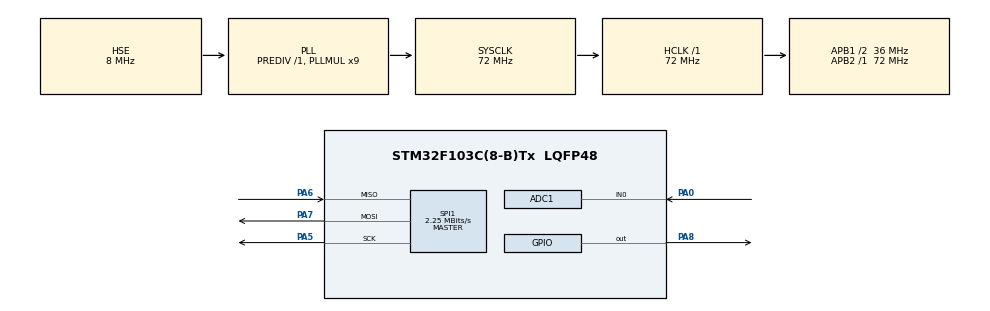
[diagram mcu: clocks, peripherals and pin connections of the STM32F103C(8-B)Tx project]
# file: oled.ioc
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ADC1.Channel-0\#ChannelRegularConversion=ADC_CHANNEL_0
ADC1.NbrOfConversionFlag=1
ADC1.Rank-0\#ChannelRegularConversion=1
ADC1.SamplingTime-0\#ChannelRegularConversion=ADC_SAMPLETIME_1CYCLE_5
ADC1.master=1
Dma.Request0=SPI1_TX
Dma.SPI1_TX.0.Direction=DMA_MEMORY_TO_PERIPH
Dma.SPI1_TX.0.Instance=DMA1_Channel3
Dma.SPI1_TX.0.MemDataAlignment=DMA_MDATAALIGN_BYTE
Dma.SPI1_TX.0.MemInc=DMA_MINC_DISABLE
Dma.SPI1_TX.0.Mode=DMA_CIRCULAR
Dma.SPI1_TX.0.PeriphDataAlignment=DMA_PDATAALIGN_BYTE
Dma.SPI1_TX.0.PeriphInc=DMA_PINC_DISABLE
Dma.SPI1_TX.0.Priority=DMA_PRIORITY_LOW
FREERTOS.Tasks01=defaultTask,24,128,StartDefaultTask,Default,NULL,Dynamic,NULL,NULL
FREERTOS.configTICK_RATE_HZ=20
Mcu.Family=STM32F1
Mcu.Name=STM32F103C(8-B)Tx
Mcu.Package=LQFP48
NVIC.ADC1_2_IRQn=true\:5\:0\:false\:false\:true\:true\:true\:true\:true
NVIC.DMA1_Channel3_IRQn=true\:5\:0\:false\:false\:true\:true\:false\:true\:true
NVIC.PriorityGroup=NVIC_PRIORITYGROUP_4
NVIC.TIM4_IRQn=true\:15\:0\:false\:false\:true\:false\:false\:true\:true
NVIC.TimeBase=TIM4_IRQn
NVIC.TimeBaseIP=TIM4
PA0-WKUP.Signal=ADCx_IN0
PA13.Mode=Serial_Wire
PA13.Signal=SYS_JTMS-SWDIO
PA14.Mode=Serial_Wire
PA14.Signal=SYS_JTCK-SWCLK
PA5.Mode=Full_Duplex_Master
PA5.Signal=SPI1_SCK
PA6.Mode=Full_Duplex_Master
PA6.Signal=SPI1_MISO
PA7.Mode=Full_Duplex_Master
PA7.Signal=SPI1_MOSI
PA8.GPIO_Speed=GPIO_SPEED_FREQ_HIGH
PA8.Signal=GPIO_Output
PC14-OSC32_IN.Mode=LSE-External-Oscillator
PC14-OSC32_IN.Signal=RCC_OSC32_IN
PC15-OSC32_OUT.Mode=LSE-External-Oscillator
PC15-OSC32_OUT.Signal=RCC_OSC32_OUT
PD0-OSC_IN.Mode=HSE-External-Oscillator
PD0-OSC_IN.Signal=RCC_OSC_IN
PD1-OSC_OUT.Mode=HSE-External-Oscillator
PD1-OSC_OUT.Signal=RCC_OSC_OUT
ProjectManager.HeapSize=0x200
ProjectManager.StackSize=0x400
ProjectManager.TargetToolchain=MDK-ARM V5.32
RCC.ADCPresc=RCC_ADCPCLK2_DIV6
RCC.AHBFreq_Value=72000000
RCC.APB1CLKDivider=RCC_HCLK_DIV2
RCC.APB1Freq_Value=36000000
RCC.APB1TimFreq_Value=72000000
RCC.APB2Freq_Value=72000000
RCC.APB2TimFreq_Value=72000000
RCC.HCLKFreq_Value=72000000
RCC.PLLMUL=RCC_PLL_MUL9
RCC.PLLSourceVirtual=RCC_PLLSOURCE_HSE
RCC.RTCClockSelection=RCC_RTCCLKSOURCE_LSE
RCC.SYSCLKFreq_VALUE=72000000
RCC.SYSCLKSource=RCC_SYSCLKSOURCE_PLLCLK
RCC.USBFreq_Value=72000000
RTC.Format=RTC_FORMAT_BIN
SH.ADCx_IN0.0=ADC1_IN0,IN0
SPI1.BaudRatePrescaler=SPI_BAUDRATEPRESCALER_32
SPI1.CRCCalculation=SPI_CRCCALCULATION_DISABLE
SPI1.CalculateBaudRate=2.25 MBits/s
SPI1.Direction=SPI_DIRECTION_2LINES
SPI1.Mode=SPI_MODE_MASTER
SPI1.VirtualType=VM_MASTER
VP_FREERTOS_VS_CMSIS_V2.Mode=CMSIS_V2
VP_RTC_VS_RTC_Activate.Mode=RTC_Enabled
VP_RTC_VS_RTC_Calendar.Mode=RTC_Calendar
VP_SYS_VS_tim4.Mode=TIM4
board=custom

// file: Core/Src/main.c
/* USER CODE BEGIN Header */
/**
  ******************************************************************************
  * @file           : main.c
  * @brief          : Main program body
  ******************************************************************************
  * @attention
  *
  * Copyright (c) 2024 STMicroelectronics.
  * All rights reserved.
  *
  * This software is licensed under terms that can be found in the LICENSE file
  * in the root directory of this software component.
  * If no LICENSE file comes with this software, it is provided AS-IS.
  *
  ******************************************************************************
  */
/* USER CODE END Header */
#include "main.h"
#include "cmsis_os.h"
#include "adc.h"
#include "dma.h"
#include "rtc.h"
#include "spi.h"
#include "gpio.h"

/* USER CODE BEGIN Includes */
#include "delay.h"
#include "at24c02.h"
#include "key.h"
#include "oled.h"
#include "rc522.h"
#include "rtc.h"
#include "math.h"
/* USER CODE END Includes */

void SystemClock_Config(void);
void MX_FREERTOS_Init(void);

int main(void)
{

  /* MCU Configuration--------------------------------------------------------*/

  /* Reset of all peripherals, Initializes the Flash interface and the Systick. */
  HAL_Init();

  /* Configure the system clock */
  SystemClock_Config();

  /* Initialize all configured peripherals */
  MX_GPIO_Init();
  MX_DMA_Init();
  MX_ADC1_Init();
  MX_SPI1_Init();
  MX_RTC_Init();
  /* USER CODE BEGIN 2 */
	HAL_Delay_Init();
	iic_init();
	key_init();
	OLED_Init();
	rc522_GPIO_Init();
	MFRC_Init();//初始化
	PCD_Reset();//器件复位

	settime (1,2,3,8,9,10);

  /* USER CODE END 2 */

  /* Init scheduler */
  osKernelInitialize();

  /* Call init function for freertos objects (in cmsis_os2.c) */
  MX_FREERTOS_Init();

  /* Start scheduler */
  osKernelStart();

  /* We should never get here as control is now taken by the scheduler */

  /* Infinite loop */
  while (1)
  {

    /* USER CODE BEGIN 3 */

//   key=key_scan (0);

//   if(HAL_GPIO_ReadPin(KEY4_GPIO_PORT,KEY4_GPIO_PIN)==0){mode=0;}
//   if(mode==0)
//   {
// 	index=0;

//     OLED_Clear();
//     HAL_RTC_GetTime(&hrtc, &sTime, RTC_FORMAT_BIN);
//     HAL_RTC_GetDate(&hrtc, &Date, RTC_FORMAT_BIN);

// 	oled_showjiemian();
// 	// HAL_ADC_Start(&hadc1);

//    	adcx = adc_get_result();
// 	HAL_ADC_Start_IT(&hadc1);
// 	OLED_ShowNum(94,0,adcx*100/4096,2,OLED_8X16);
// 	OLED_ShowString(112,0,"%",OLED_8X16);
// 	OLED_ShowString(18,42,"ID",OLED_6X8);
// 	OLED_ShowNum(32,42,0,8,OLED_6X8);
// 	card=PCD_Request(PICC_REQALL, RxBuffer);
// 	PCD_Anticoll(RxBuffer);
// 	if(card==PCD_OK)
// 	{

// 		OLED_ClearArea(31,42,127,50);
// 		for(int i=0;i<4;i++)
// 		{
// 			OLED_ShowHexNum(32+i*12,42,RxBuffer[i],2,OLED_6X8);
// 		}
// 		OLED_Update();
// 		if(check(RxBuffer)){HAL_GPIO_WritePin(GPIOA,GPIO_PIN_8,GPIO_PIN_SET);}
// 		delay_ms(900);
// 		HAL_GPIO_WritePin(GPIOA,GPIO_PIN_8,GPIO_PIN_RESET);
// 		for(uint8_t i=0;i<4;i++)
// 		{
// 			at24c02_write_one_byte(i+j,RxBuffer[i]);
// 		}
// 		addr=j;
// 		j=j+4;
// 		if(j>255){j=j%256;}
// 	}
// 	OLED_Update();
// 	if(HAL_GPIO_ReadPin(KEY1_GPIO_PORT,KEY1_GPIO_PIN)==0)
// 	{
// 		mode=3;
// 		OLED_Clear();
// 		OLED_ShowString(30,20,"clear",OLED_8X16);
// 		OLED_Update();
// 	}
//     if(HAL_GPIO_ReadPin(KEY2_GPIO_PORT,KEY2_GPIO_PIN)==0)
// 	{
// 		mode=1;
// 		OLED_Clear();
// 		OLED_ShowString(30,20,"set time?",OLED_8X16);
// 		OLED_Update();
// 		delay_ms(300);
// 	}
// 	if(HAL_GPIO_ReadPin(KEY3_GPIO_PORT,KEY3_GPIO_PIN)==0)
// 	{
// 		mode=2;
// 		OLED_Clear();
// 		OLED_ShowString(0,20,"look history?",OLED_8X16);
// 		OLED_Update();
// 		delay_ms(300);
// 	}
// 	// if(ty==0){adc_time--;}
// 	// if(adc_time==0){HAL_ADC_Start_IT(&hadc1);adc_time=6000;}
//   }
//   if(mode==1)
//   {
// 	if(key==KEY1_PRES)
// 	{
// 	t=5000;
// 	OLED_ShowString(30,0,"set time",OLED_8X16);
// 	OLED_ClearArea(30,20,127,36);
// 	  OLED_Update();
// 	  index++;
// 	  index=index%7;
// 	  if(index==1){OLED_ClearArea(0,40,127,63);OLED_ShowString(20,42,"year",OLED_6X8);OLED_Update();}
// 	  if(index==2){OLED_ClearArea(0,40,127,63);OLED_ShowString(20,42,"month",OLED_6X8);OLED_Update();}
// 	  if(index==3){OLED_ClearArea(0,40,127,63);OLED_ShowString(20,42,"day",OLED_6X8);OLED_Update();}
// 	  if(index==4){OLED_ClearArea(0,40,127,63);OLED_ShowString(20,42,"hour",OLED_6X8);OLED_Update();}
// 	  if(index==5){OLED_ClearArea(0,40,127,63);OLED_ShowString(20,42,"minute",OLED_6X8);OLED_Update();}
// 	  if(index==6){OLED_ClearArea(0,40,127,63);OLED_ShowString(20,42,"second",OLED_6X8);OLED_Update();}

// 	  if(index==0)
// 	  {
// 	  settime(y1,y2,day,hour,minute,second);
// 	  mode=0;
// 	  delay_ms(200);
// 	  }

// 	  }
// 	if(key==KEY2_PRES)
// 	  {
// 	  t=5000;
// 		if(index==1)
// 		{
// 		  y1++;
// 		  if(y1>99){y1=y1%100;}
// 		  OLED_ClearArea(0,40,127,63);
// 		  OLED_ShowString(20,42,"year",OLED_6X8);
// 		  OLED_ShowNum(48,42,2000 + y1,4,OLED_6X8);
// 		  OLED_Update();
// 		}
// 		if(index==2)
// 		{
// 		  y2++;
// 		  if(y2>12){y2=y2%13;y2++;}
// 		  OLED_ClearArea(0,40,127,63);
// 		  OLED_ShowString(20,42,"month-",OLED_6X8);
// 		  OLED_ShowNum(57,42,y2,2,OLED_6X8);
// 		  OLED_Update();

// 		}
// 		if(index==3)
// 		{
// 		//   day++;
// 		  if(rtc_is_leap_year(y1))
// 		  {
// 			if(y2==1|y2==3|y2==5|y2==7|y2==8|y2==10|y2==12){day=day%31;day++;}
// 			else if(y2==4|y2==6|y2==9|y2==11){day=day%30;day++;}
// 			else{day=day%29;day++;}
// 		  }
// 		  else
// 		  {
// 			if(y2==1|y2==3|y2==5|y2==7|y2==8|y2==10|y2==12){day=day%31;day++;}
// 			else if(y2==4|y2==6|y2==9|y2==11){day=day%30;day++;}
// 			else{day=day%28;day++;}
// 		  }
// 		  OLED_ClearArea(0,40,127,63);
// 		  OLED_ShowString(20,42,"day-",OLED_6X8);
// 		  OLED_ShowNum(45,42,day,2,OLED_6X8);
// 		  OLED_Update();

// 		}
// 		if(index==4)
// 		{
// 		  hour++;
// 		  if(hour>23){hour=hour%24;}
// 		  OLED_ClearArea(0,40,127,63);
// 		  OLED_ShowString(20,42,"hour-",OLED_6X8);
// 		  OLED_ShowNum(51,42,hour,2,OLED_6X8);
// 		  OLED_Update();

// 		}
// 		if(index==5)
// 		{
// 		  minute++;
// 		  if(minute>59){minute=minute%60;}
// 		  OLED_ClearArea(0,40,127,63);
// 		  OLED_ShowString(20,42,"minute-",OLED_6X8);
// 		  OLED_ShowNum(63,42,minute,2,OLED_6X8);
// 		  OLED_Update();

// 		}
// 		if(index==6)
// 		{
// 		  second++;
// 		  if(second>59){second=second%60;}
// 		  OLED_ClearArea(0,40,127,63);
// 		  OLED_ShowString(20,42,"second-",OLED_6X8);
// 		  OLED_ShowNum(63,42,second,2,OLED_6X8);
// 		  OLED_Update();

// 		}

// 	  }
// 	if(key==KEY3_PRES)
// 	  {
// 	  t=5000;
// 		if(index==1)
// 		{
// 		  if(y1>99){y1=y1%100;}
// 		  else if (y1==0){y1=99;}
// 		  else {y1--;}

// 		  OLED_ClearArea(0,40,127,63);
// 		  OLED_ShowString(20,42,"year",OLED_6X8);
// 		  OLED_ShowNum(48,42,2000 + y1,4,OLED_6X8);
// 		  OLED_Update();
// 		}
// 		if(index==2)
// 		{
// 		  if(y2>12){y2=y2%13;y2++;}
// 		  else if(y2==1){y2=12;}
// 		  else {y2--;}

// 		  OLED_ClearArea(0,40,127,63);
// 		  OLED_ShowString(20,42,"month-",OLED_6X8);
// 		  OLED_ShowNum(57,42,y2,2,OLED_6X8);
// 		  OLED_Update();

// 		}
// 		if(index==3)
// 		{
// 		  day--;
// 		  if(rtc_is_leap_year(y1))
// 		  {
// 			if(y2==1|y2==3|y2==5|y2==7|y2==8|y2==10|y2==12){if(day==0){day=31;}}
// 			else if(y2==4|y2==6|y2==9|y2==11){if(day==0){day=30;}}
// 			else{if(day==0){day=29;}}
// 		  }
// 		  else
// 		  {
// 			if(y2==1|y2==3|y2==5|y2==7|y2==8|y2==10|y2==12){if(day==0){day=31;}}
// 			else if(y2==4|y2==6|y2==9|y2==11){if(day==0){day=30;}}
// 			else{if(day==0){day=28;}}
// 		  }
// 		  OLED_ClearArea(0,40,127,63);
// 		  OLED_ShowString(20,42,"day-",OLED_6X8);
// 		  OLED_ShowNum(45,42,day,2,OLED_6X8);
// 		  OLED_Update();

// 		}
// 		if(index==4)
// 		{
// 		if(hour>23){hour=hour%24;}
// 		  else if(hour==0){hour=23;}
// 		  else{hour--;}
// 		  OLED_ClearArea(0,40,127,63);
// 		  OLED_ShowString(20,42,"hour-",OLED_6X8);
// 		  OLED_ShowNum(51,42,hour,2,OLED_6X8);
// 		  OLED_Update();

// 		}
// 		if(index==5)
// 		{
// 		  if(minute>59){minute=minute%60;}
// 		  else if(minute==0){minute=59;}
// 		  else{minute--;}
// 		  OLED_ClearArea(0,40,127,63);
// 		  OLED_ShowString(20,42,"minute-",OLED_6X8);
// 		  OLED_ShowNum(63,42,minute,2,OLED_6X8);
// 		  OLED_Update();

// 		}
// 		if(index==6)
// 		{
// 		if(second>59){second=second%60;}
// 		  else if(second==0){second=59;}
// 		  else{second--;}

// 		  OLED_ClearArea(0,40,127,63);
// 		  OLED_ShowString(20,42,"second-",OLED_6X8);
// 		  OLED_ShowNum(63,42,second,2,OLED_6X8);
// 		  OLED_Update();

// 		}

// 	  }
// 	  if(t!=0){	t--;delay_ms(1);}
// 	  else {mode=0;index=0;t=5000;}

//   }
//   if(mode==2)
//   {

// 	if(key==KEY1_PRES)
// 	{
// 		t=5000;
// 		OLED_Clear();
// 		OLED_ShowString(30,1,"card ID",OLED_8X16);
// 		for(int i=0;i<4;i++)
// 		{
// 		rdbuffer[i]=at24c02_read_one_byte(addr+i);
// 		}
// 		for(int i=0;i<4;i++)
// 		{
// 		OLED_ShowHexNum(32+i*18,25,rdbuffer[i],2,OLED_6X8);
// 		}
// 		OLED_Update();
// 	}
// 	if(key==KEY2_PRES)
// 	{
// 		t=5000;
// 		OLED_ClearArea(0,25,127,33);
// 		addr=addr+4;

// 		for(int i=0;i<4;i++)
// 		{
// 		rdbuffer[i]=at24c02_read_one_byte(addr+i);
// 		}
// 		for(int i=0;i<4;i++)
// 		{
// 		OLED_ShowHexNum(32+i*18,25,rdbuffer[i],2,OLED_6X8);
// 		}OLED_Update();

// 	}
// 	if(key==KEY3_PRES)
// 	{
// 		t=5000;
// 		OLED_ClearArea(0,25,127,33);
// 		addr=addr-4;

// 		for(int i=0;i<4;i++)
// 		{
// 		rdbuffer[i]=at24c02_read_one_byte(addr+i);
// 		}
// 		for(int i=0;i<4;i++)
// 		{
// 		OLED_ShowHexNum(32+i*18,25,rdbuffer[i],2,OLED_6X8);
// 		}OLED_Update();

// 	}
// 	if(t!=0){t--;delay_ms(1);}
// 	else{mode=0;t=5000;}
//   }
//   if(mode==3)
//   {

// 	if(HAL_GPIO_ReadPin(KEY2_GPIO_PORT,KEY2_GPIO_PIN)==0&
// 	HAL_GPIO_ReadPin(KEY3_GPIO_PORT,KEY3_GPIO_PIN)==0)
// 	{

// 		for(int i=0;i<256;i++)
// 		{at24c02_write_one_byte(i,0);delay_ms(5);}
// 		mode=0;
// 		OLED_Clear();
// 		OLED_ShowString(30,20,"done",OLED_8X16);
// 		OLED_Update();
// 		delay_ms(3000);
// 	}
//   }

  }

  /* USER CODE END 3 */
}

void SystemClock_Config(void)
{
  RCC_OscInitTypeDef RCC_OscInitStruct = {0};
  RCC_ClkInitTypeDef RCC_ClkInitStruct = {0};
  RCC_PeriphCLKInitTypeDef PeriphClkInit = {0};

  /** Initializes the RCC Oscillators according to the specified parameters
  * in the RCC_OscInitTypeDef structure.
  */
  RCC_OscInitStruct.OscillatorType = RCC_OSCILLATORTYPE_HSE|RCC_OSCILLATORTYPE_LSE;
  RCC_OscInitStruct.HSEState = RCC_HSE_ON;
  RCC_OscInitStruct.HSEPredivValue = RCC_HSE_PREDIV_DIV1;
  RCC_OscInitStruct.LSEState = RCC_LSE_ON;
  RCC_OscInitStruct.HSIState = RCC_HSI_ON;
  RCC_OscInitStruct.PLL.PLLState = RCC_PLL_ON;
  RCC_OscInitStruct.PLL.PLLSource = RCC_PLLSOURCE_HSE;
  RCC_OscInitStruct.PLL.PLLMUL = RCC_PLL_MUL9;
  if (HAL_RCC_OscConfig(&RCC_OscInitStruct) != HAL_OK)
  {
    Error_Handler();
  }

  /** Initializes the CPU, AHB and APB buses clocks
  */
  RCC_ClkInitStruct.ClockType = RCC_CLOCKTYPE_HCLK|RCC_CLOCKTYPE_SYSCLK
                              |RCC_CLOCKTYPE_PCLK1|RCC_CLOCKTYPE_PCLK2;
  RCC_ClkInitStruct.SYSCLKSource = RCC_SYSCLKSOURCE_PLLCLK;
  RCC_ClkInitStruct.AHBCLKDivider = RCC_SYSCLK_DIV1;
  RCC_ClkInitStruct.APB1CLKDivider = RCC_HCLK_DIV2;
  RCC_ClkInitStruct.APB2CLKDivider = RCC_HCLK_DIV1;

  if (HAL_RCC_ClockConfig(&RCC_ClkInitStruct, FLASH_LATENCY_2) != HAL_OK)
  {
    Error_Handler();
  }
  PeriphClkInit.PeriphClockSelection = RCC_PERIPHCLK_RTC|RCC_PERIPHCLK_ADC;
  PeriphClkInit.RTCClockSelection = RCC_RTCCLKSOURCE_LSE;
  PeriphClkInit.AdcClockSelection = RCC_ADCPCLK2_DIV6;
  if (HAL_RCCEx_PeriphCLKConfig(&PeriphClkInit) != HAL_OK)
  {
    Error_Handler();
  }
}

/* USER CODE BEGIN 4 */

uint8_t check(uint8_t* mima)
{
	int8_t temp=0;
	uint8_t code[4]={0x33,0x64,0x14,0x2A};
	for(int i=0;i<4;i++)
	{
	if(code[i]==*(mima+i))
	{
		temp++;
	}
	}
	if(temp==4)
	{return 1;}
	else
	{return 0;}
}
/* USER CODE END 4 */

void HAL_TIM_PeriodElapsedCallback(TIM_HandleTypeDef *htim)
{
  if (htim->Instance == TIM4) {
    HAL_IncTick();
  }
}

void Error_Handler(void)
{
  __disable_irq();
  while (1)
  {
  }
}

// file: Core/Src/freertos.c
/* USER CODE BEGIN Header */
/**
  ******************************************************************************
  * File Name          : freertos.c
  * Description        : Code for freertos applications
  ******************************************************************************
  * @attention
  *
  * Copyright (c) 2024 STMicroelectronics.
  * All rights reserved.
  *
  * This software is licensed under terms that can be found in the LICENSE file
  * in the root directory of this software component.
  * If no LICENSE file comes with this software, it is provided AS-IS.
  *
  ******************************************************************************
  */
/* USER CODE END Header */

#include "FreeRTOS.h"
#include "task.h"
#include "main.h"
#include "cmsis_os.h"

/* USER CODE BEGIN Includes */
#include "delay.h"
#include "at24c02.h"
#include "key.h"
#include "oled.h"
#include "rc522.h"
#include "rtc.h"
#include "math.h"

#include "adc.h"
#include "dma.h"

#include "rtc.h"
#include "spi.h"
#include "semphr.h"
#include "gpio.h"
#include "queue.h"
/* USER CODE END Includes */

/* USER CODE BEGIN Variables */
/* START_TASK ?? ??
 * ??: ???? ????? ???? ????
 */
#define START_TASK_PRIO         1
#define START_TASK_STACK_SIZE   128
TaskHandle_t    start_task_handler;
void start_task( void * pvParameters );

/* TASK1 ?? ??
 * ??: ???? ????? ???? ????
 */
#define TASK1_PRIO         2
#define TASK1_STACK_SIZE   128
TaskHandle_t    task1_handler;
void task1( void * pvParameters );

/* TASK2 ?? ??
 * ??: ???? ????? ???? ????
 */
#define TASK2_PRIO         6
#define TASK2_STACK_SIZE   64
TaskHandle_t    task2_handler;
void task2( void * pvParameters );

/* TASK3 ?? ??
 * ??: ???? ????? ???? ????
 */
#define TASK3_PRIO         4
#define TASK3_STACK_SIZE   128
TaskHandle_t    task3_handler;
void task3( void * pvParameters );

#define TASK4_PRIO         4
#define TASK4_STACK_SIZE   64
TaskHandle_t    task4_handler;
void task4( void * pvParameters );

#define TASK5_PRIO         7
#define TASK5_STACK_SIZE   32
TaskHandle_t    task5_handler;
void task5( void * pvParameters );

/* USER CODE END Variables */
/* Definitions for defaultTask */
osThreadId_t defaultTaskHandle;
const osThreadAttr_t defaultTask_attributes = {
  .name = "defaultTask",
  .stack_size = 128 * 4,
  .priority = osPriorityIdle,
};

/* USER CODE BEGIN FunctionPrototypes */
  QueueHandle_t semphore_handle;
/* USER CODE END FunctionPrototypes */

void StartDefaultTask(void *argument);

void MX_FREERTOS_Init(void); /* (MISRA C 2004 rule 8.1) */

void MX_FREERTOS_Init(void) {
  /* USER CODE BEGIN Init */

  semphore_handle = xSemaphoreCreateBinary();
    xTaskCreate((TaskFunction_t         )   start_task,
                (char *                 )   "start_task",
                (configSTACK_DEPTH_TYPE )   START_TASK_STACK_SIZE,
                (void *                 )   NULL,
                (UBaseType_t            )   START_TASK_PRIO,
                (TaskHandle_t *         )   &start_task_handler );
    vTaskStartScheduler();
  /* USER CODE END Init */

  /* Create the thread(s) */
  /* creation of defaultTask */
  defaultTaskHandle = osThreadNew(StartDefaultTask, NULL, &defaultTask_attributes);

}

void StartDefaultTask(void *argument)
{
  for(;;)
  {
    osDelay(1);
  }
}

/* USER CODE BEGIN Application */
	uint8_t rdbuffer[4];
	uint8_t RxBuffer[4];
  uint8_t write_buffer[10];

	uint8_t key;
	uint8_t addr=0;
	uint8_t j=0;
  uint16_t adcx;
  uint8_t card;

  int y1=0;
  int y2=0;
  int day=0;
  int hour=0;
  int minute=0;
  int second=0;
  uint8_t mode=0;
  uint16_t t=5000;

  uint8_t index=0;
  uint16_t adc_time=600;

void start_task( void * pvParameters )
{
    taskENTER_CRITICAL();               /* ????? */
    xTaskCreate((TaskFunction_t         )   task1,
                (char *                 )   "task1",
                (configSTACK_DEPTH_TYPE )   TASK1_STACK_SIZE,
                (void *                 )   NULL,
                (UBaseType_t            )   TASK1_PRIO,
                (TaskHandle_t *         )   &task1_handler );

    xTaskCreate((TaskFunction_t         )   task2,
                (char *                 )   "task2",
                (configSTACK_DEPTH_TYPE )   TASK2_STACK_SIZE,
                (void *                 )   NULL,
                (UBaseType_t            )   TASK2_PRIO,
                (TaskHandle_t *         )   &task2_handler );

    xTaskCreate((TaskFunction_t         )   task3,
                (char *                 )   "task3",
                (configSTACK_DEPTH_TYPE )   TASK3_STACK_SIZE,
                (void *                 )   NULL,
                (UBaseType_t            )   TASK3_PRIO,
                (TaskHandle_t *         )   &task3_handler );

    xTaskCreate((TaskFunction_t         )   task4,
                (char *                 )   "task4",
                (configSTACK_DEPTH_TYPE )   TASK4_STACK_SIZE,
                (void *                 )   NULL,
                (UBaseType_t            )   TASK4_PRIO,
                (TaskHandle_t *         )   &task4_handler );

    xTaskCreate((TaskFunction_t         )   task5,
                (char *                 )   "task5",
                (configSTACK_DEPTH_TYPE )   TASK5_STACK_SIZE,
                (void *                 )   NULL,
                (UBaseType_t            )   TASK5_PRIO,
                (TaskHandle_t *         )   &task5_handler );

    vTaskSuspend(task4_handler);
    vTaskSuspend(task2_handler);
    vTaskSuspend(task3_handler);

    vTaskDelete(NULL);
    taskEXIT_CRITICAL();                /* ????? */
}

/* ??????LED0?500ms???? */
void task1( void * pvParameters )
{
  // vTaskSuspend(StartDefaultTask);

		vTaskSuspend(task3_handler);
    while(1)
    {
    key=key_scan(0);
    if(mode==0)
      {
      index=0;
      OLED_Clear();
      HAL_RTC_GetTime(&hrtc, &sTime, RTC_FORMAT_BIN);
      HAL_RTC_GetDate(&hrtc, &Date, RTC_FORMAT_BIN);

      oled_showjiemian();
      // HAL_ADC_Start(&hadc1);

      adcx = adc_get_result();
      HAL_ADC_Start_IT(&hadc1);
      OLED_ShowNum(94,0,adcx*100/4096,2,OLED_8X16);
      OLED_ShowString(112,0,"%",OLED_8X16);
      OLED_ShowString(18,42,"ID",OLED_6X8);
      OLED_ShowNum(32,42,0,8,OLED_6X8);
       card=PCD_Request(PICC_REQALL, RxBuffer);
    PCD_Anticoll(RxBuffer);
    if(card==PCD_OK)
    {
       if(semphore_handle != NULL)
            {
                 xSemaphoreGive(semphore_handle);
            }

    }
	    OLED_Update();
      if(key==KEY1_PRES)
      {
      mode=3;
      OLED_Clear();
      OLED_ShowString(30,20,"clear",OLED_8X16);
      OLED_Update();
      delay_ms(500);
      vTaskResume(task4_handler);
      }
      if(key==KEY2_PRES)
      {
      mode=1;
      OLED_Clear();
      OLED_ShowString(30,20,"set time?",OLED_8X16);
      OLED_Update();
      vTaskResume(task3_handler);
      }
      if(key==KEY3_PRES)
      {
        mode=2;
        OLED_Clear();
        OLED_ShowString(0,20,"look history?",OLED_8X16);
        OLED_Update();
        vTaskResume(task2_handler);
      }
      }
	  vTaskDelay(1);
    }

}

/* ??????LED1?500ms???? */
void task2( void * pvParameters )
{
    while(1)
    {
      key=key_scan(0);
      if(mode==2)
      {

      if(key==KEY1_PRES)
      {
      t=5000;
      OLED_Clear();
      OLED_ShowString(30,1,"card ID",OLED_8X16);
      for(int i=0;i<4;i++)
      {
      OLED_ShowHexNum(32+i*18,25,at24c02_read_one_byte(addr+i),2,OLED_6X8);
      }
      OLED_ShowNum(3,40,2000+at24c02_read_one_byte(addr+4),4,OLED_6X8);
      for(int i=0;i<5;i++){
      OLED_ShowNum(29+i*14,40,at24c02_read_one_byte(addr+5+i),2,OLED_6X8);
      }
      OLED_Update();
      }
      if(key==KEY2_PRES)
      {
      t=5000;
      OLED_ClearArea(0,25,127,33);
      addr=addr+10;

      for(int i=0;i<4;i++)
      {
      OLED_ShowHexNum(32+i*18,25,at24c02_read_one_byte(addr+i),2,OLED_6X8);
      }
      OLED_ShowNum(3,40,2000+at24c02_read_one_byte(addr+4),4,OLED_6X8);
      for(int i=0;i<5;i++){
      OLED_ShowNum(29+i*14,40,at24c02_read_one_byte(addr+5+i),2,OLED_6X8);
      }OLED_Update();

      }
      if(key==KEY3_PRES)
      {
      t=5000;
      OLED_ClearArea(0,25,127,33);
      addr=addr-10;

      for(int i=0;i<4;i++)
      {
      OLED_ShowHexNum(32+i*18,25,at24c02_read_one_byte(addr+i),2,OLED_6X8);
      }
      OLED_ShowNum(3,40,2000+at24c02_read_one_byte(addr+4),4,OLED_6X8);
      for(int i=0;i<5;i++){
      OLED_ShowNum(29+i*14,40,at24c02_read_one_byte(addr+5+i),2,OLED_6X8);
      }OLED_Update();

      }
      if(t!=0){t--;delay_ms(1);}
      else
      {
        mode=0;
        t=5000;
        vTaskSuspend(task2_handler);
      }
      if(key==KEY4_PRES)
        {
        mode=0;
        vTaskSuspend(task2_handler);
        }
      }
    }
}

/* ????????KEY0???KEY0??task1 */
void task3( void * pvParameters )
{

  while(1)
  {

  key=key_scan(0);
  if(mode==1)
  {
	if(key==KEY1_PRES)
	{
	t=5000;
	OLED_ShowString(30,0,"set time",OLED_8X16);
	OLED_ClearArea(30,20,127,36);
	  OLED_Update();
	  index++;
	  index=index%7;
	  if(index==1){OLED_ClearArea(0,40,127,63);OLED_ShowString(20,42,"year",OLED_6X8);OLED_Update();}
	  if(index==2){OLED_ClearArea(0,40,127,63);OLED_ShowString(20,42,"month",OLED_6X8);OLED_Update();}
	  if(index==3){OLED_ClearArea(0,40,127,63);OLED_ShowString(20,42,"day",OLED_6X8);OLED_Update();}
	  if(index==4){OLED_ClearArea(0,40,127,63);OLED_ShowString(20,42,"hour",OLED_6X8);OLED_Update();}
	  if(index==5){OLED_ClearArea(0,40,127,63);OLED_ShowString(20,42,"minute",OLED_6X8);OLED_Update();}
	  if(index==6){OLED_ClearArea(0,40,127,63);OLED_ShowString(20,42,"second",OLED_6X8);OLED_Update();}

	  if(index==0)
	  {
	  settime(y1,y2,day,hour,minute,second);
	  mode=0;
    delay_ms(300);
    vTaskSuspend(task3_handler);

	  }

	  }
	if(key==KEY2_PRES)
	  {
	  t=5000;
		if(index==1)
		{
		  y1++;
		  if(y1>99){y1=y1%100;}
		  OLED_ClearArea(0,40,127,63);
		  OLED_ShowString(20,42,"year",OLED_6X8);
		  OLED_ShowNum(48,42,2000 + y1,4,OLED_6X8);
		  OLED_Update();
		}
		if(index==2)
		{
		  y2++;
		  if(y2>12){y2=y2%13;y2++;}
		  OLED_ClearArea(0,40,127,63);
		  OLED_ShowString(20,42,"month-",OLED_6X8);
		  OLED_ShowNum(57,42,y2,2,OLED_6X8);
		  OLED_Update();

		}
		if(index==3)
		{
		//   day++;
		  if(rtc_is_leap_year(y1))
		  {
			if(y2==1|y2==3|y2==5|y2==7|y2==8|y2==10|y2==12){day=day%31;day++;}
			else if(y2==4|y2==6|y2==9|y2==11){day=day%30;day++;}
			else{day=day%29;day++;}
		  }
		  else
		  {
			if(y2==1|y2==3|y2==5|y2==7|y2==8|y2==10|y2==12){day=day%31;day++;}
			else if(y2==4|y2==6|y2==9|y2==11){day=day%30;day++;}
			else{day=day%28;day++;}
		  }
		  OLED_ClearArea(0,40,127,63);
		  OLED_ShowString(20,42,"day-",OLED_6X8);
		  OLED_ShowNum(45,42,day,2,OLED_6X8);
		  OLED_Update();

		}
		if(index==4)
		{
		  hour++;
		  if(hour>23){hour=hour%24;}
		  OLED_ClearArea(0,40,127,63);
		  OLED_ShowString(20,42,"hour-",OLED_6X8);
		  OLED_ShowNum(51,42,hour,2,OLED_6X8);
		  OLED_Update();

		}
		if(index==5)
		{
		  minute++;
		  if(minute>59){minute=minute%60;}
		  OLED_ClearArea(0,40,127,63);
		  OLED_ShowString(20,42,"minute-",OLED_6X8);
		  OLED_ShowNum(63,42,minute,2,OLED_6X8);
		  OLED_Update();

		}
		if(index==6)
		{
		  second++;
		  if(second>59){second=second%60;}
		  OLED_ClearArea(0,40,127,63);
		  OLED_ShowString(20,42,"second-",OLED_6X8);
		  OLED_ShowNum(63,42,second,2,OLED_6X8);
		  OLED_Update();

		}

	  }
	if(key==KEY3_PRES)
	  {
	  t=5000;
		if(index==1)
		{
		  if(y1>99){y1=y1%100;}
		  else if (y1==0){y1=99;}
		  else {y1--;}

		  OLED_ClearArea(0,40,127,63);
		  OLED_ShowString(20,42,"year",OLED_6X8);
		  OLED_ShowNum(48,42,2000 + y1,4,OLED_6X8);
		  OLED_Update();
		}
		if(index==2)
		{
		  if(y2>12){y2=y2%13;y2++;}
		  else if(y2==1){y2=12;}
		  else {y2--;}

		  OLED_ClearArea(0,40,127,63);
		  OLED_ShowString(20,42,"month-",OLED_6X8);
		  OLED_ShowNum(57,42,y2,2,OLED_6X8);
		  OLED_Update();

		}
		if(index==3)
		{
		  day--;
		  if(rtc_is_leap_year(y1))
		  {
			if(y2==1|y2==3|y2==5|y2==7|y2==8|y2==10|y2==12){if(day==0){day=31;}}
			else if(y2==4|y2==6|y2==9|y2==11){if(day==0){day=30;}}
			else{if(day==0){day=29;}}
		  }
		  else
		  {
			if(y2==1|y2==3|y2==5|y2==7|y2==8|y2==10|y2==12){if(day==0){day=31;}}
			else if(y2==4|y2==6|y2==9|y2==11){if(day==0){day=30;}}
			else{if(day==0){day=28;}}
		  }
		  OLED_ClearArea(0,40,127,63);
		  OLED_ShowString(20,42,"day-",OLED_6X8);
		  OLED_ShowNum(45,42,day,2,OLED_6X8);
		  OLED_Update();

		}
		if(index==4)
		{
		if(hour>23){hour=hour%24;}
		  else if(hour==0){hour=23;}
		  else{hour--;}
		  OLED_ClearArea(0,40,127,63);
		  OLED_ShowString(20,42,"hour-",OLED_6X8);
		  OLED_ShowNum(51,42,hour,2,OLED_6X8);
		  OLED_Update();

		}
		if(index==5)
		{
		  if(minute>59){minute=minute%60;}
		  else if(minute==0){minute=59;}
		  else{minute--;}
		  OLED_ClearArea(0,40,127,63);
		  OLED_ShowString(20,42,"minute-",OLED_6X8);
		  OLED_ShowNum(63,42,minute,2,OLED_6X8);
		  OLED_Update();

		}
		if(index==6)
		{
		if(second>59){second=second%60;}
		  else if(second==0){second=59;}
		  else{second--;}

		  OLED_ClearArea(0,40,127,63);
		  OLED_ShowString(20,42,"second-",OLED_6X8);
		  OLED_ShowNum(63,42,second,2,OLED_6X8);
		  OLED_Update();

		}

	  }
	  if(t!=0){	t--;delay_ms(1);}
	  else
    {
    mode=0;
    t=5000;
    vTaskSuspend(task3_handler);
    }
    if(key==KEY4_PRES)
    {
      mode=0;
      vTaskSuspend(task3_handler);
    }
  }

 }
}

void task4( void * pvparameters)
{
t=5000;
  while(1)
  {
    key=key_scan(0);
     if(mode==3)
  {
  if(key==KEY1_PRES)
  {
    OLED_Clear();
    OLED_ShowString(20,20,"key2or3",OLED_6X8);
    OLED_Update();

  }
	if(HAL_GPIO_ReadPin(KEY2_GPIO_PORT,KEY2_GPIO_PIN)==0|
	HAL_GPIO_ReadPin(KEY3_GPIO_PORT,KEY3_GPIO_PIN)==0)
	{
		for(int i=0;i<256;i++)
		{at24c02_write_one_byte(i,0);delay_us(5);}
		OLED_Clear();
		OLED_ShowString(30,20,"done",OLED_8X16);
		OLED_Update();

	}
   if(t!=0){t--;delay_ms(1);}
	  else
    {
    mode=0;
    t=5000;
    vTaskSuspend(task4_handler);
    }
  if(key==KEY4_PRES)
    {
      mode=0;
      vTaskSuspend(task4_handler);
    }
  }
  }
}

void task5( void * pvParameters )
{

    BaseType_t err;
    while(1)
    {
      err = xSemaphoreTake(semphore_handle,portMAX_DELAY); /* 获取信号量并死等 */
      if(err == pdTRUE)
      {
          OLED_ClearArea(31,42,127,50);
          for(int i=0;i<4;i++)
          {
          OLED_ShowHexNum(32+i*12,42,RxBuffer[i],2,OLED_6X8);
          }
          OLED_Update();
          if(check(RxBuffer)){HAL_GPIO_WritePin(GPIOA,GPIO_PIN_8,GPIO_PIN_SET);}

          for(uint8_t i=0;i<4;i++)
          {
          write_buffer[i]=RxBuffer[i];
          }
          write_buffer[4]=Date.Year;
          write_buffer[5]=Date.Month;
          write_buffer[6]=Date.Date;
          write_buffer[7]=sTime.Hours;
          write_buffer[8]=sTime.Minutes;
          write_buffer[9]=sTime.Seconds;
          addr=at24c02_write_ten_byte(j,write_buffer);
          j=j+10;
          if(j>249){j=0;}
          OLED_Update();
		  delay_ms(500);
		  vTaskDelay(30);
          HAL_GPIO_WritePin(GPIOA,GPIO_PIN_8,GPIO_PIN_RESET);
      }

    }

}

/* USER CODE END Application */
